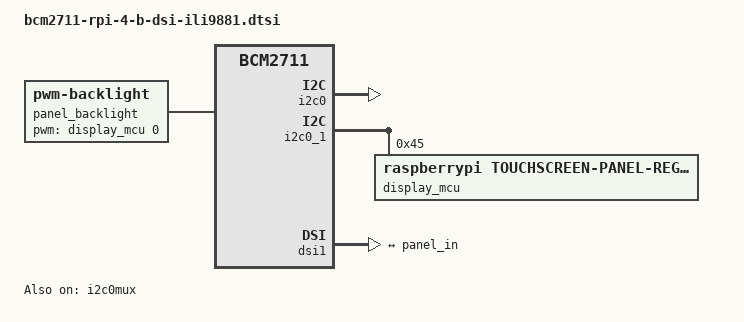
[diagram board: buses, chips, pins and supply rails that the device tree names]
// SPDX-License-Identifier: GPL-2.0
/*
 * Common DSI infrastructure for Raspberry Pi ILI9881C panels
 * (backlight, i2c mux, display MCU, DSI1 port wiring)
 *
 * Each panel overlay includes this and extends &panel with its own
 * compatible, dimensions, and panel-timing.
 */

#include <dt-bindings/gpio/gpio.h>

&{/} {
	panel_backlight: panel_backlight {
		compatible = "pwm-backlight";
		brightness-levels = <0 31>;
		num-interpolated-steps = <31>;
		default-brightness-level = <15>;
		pwms = <&display_mcu 0 200000 0>;
	};
};

&i2c0 {
	status = "okay";
};

&i2c0mux {
	status = "okay";
};

&i2c0_1 {
	status = "okay";

	display_mcu: display_mcu@45 {
		compatible = "raspberrypi,touchscreen-panel-regulator-v2";
		reg = <0x45>;
		gpio-controller;
		#gpio-cells = <2>;
		#pwm-cells = <3>;
	};
};

&dsi1 {
	status = "okay";

	panel: panel@0 {
		reg = <0>;
		reset-gpios = <&display_mcu 0 GPIO_ACTIVE_LOW>;
		backlight = <&panel_backlight>;
		dsi-lanes = <2>;
		mode-video;
		mode-lpm;

		port {
			panel_in: endpoint {
				remote-endpoint = <&dsi1_out>;
			};
		};
	};

	port {
		dsi1_out: endpoint {
			remote-endpoint = <&panel_in>;
		};
	};
};
